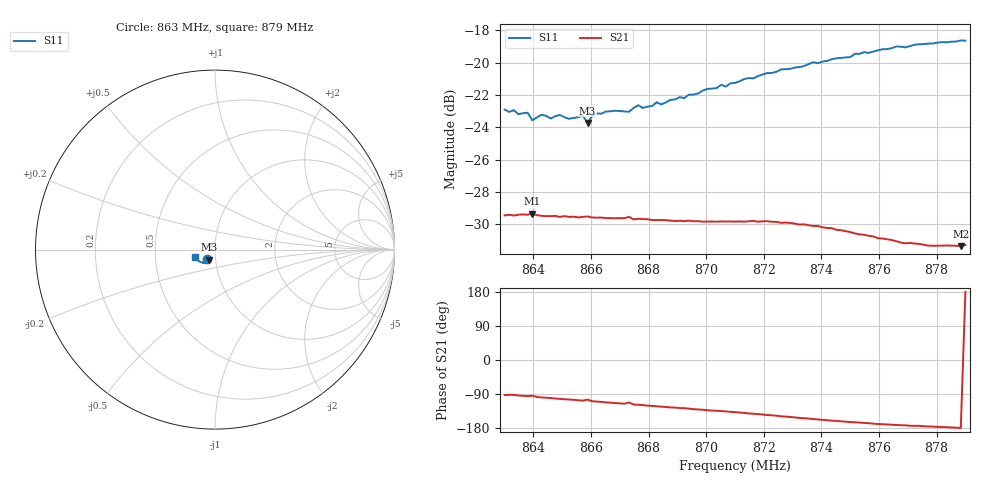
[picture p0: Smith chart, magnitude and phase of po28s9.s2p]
# HZ S RI R 50
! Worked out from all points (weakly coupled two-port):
!   101 points, 863 MHz to 879 MHz, reference 50 ohm
!   highest |S21| = -29.35 dB at 863.96 MHz (marker M1); lowest = -31.4 dB at 878.84 MHz (marker M2)
!   lowest |S11| = -23.7 dB at 865.88 MHz (marker M3), VSWR 1.14, Z = 46.5 - j5.24 ohm
!   |S11| at or under -10 dB: start of sweep to end of sweep
!   S12 and S22 are empty: the file has one direction only
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8.63e8  -0.0466 -0.0543  -0.00157 -0.0336  0 0  0 0
8.6332e8  -0.0444 -0.0558  -0.00133 -0.0336  0 0  0 0
8.6348e8  -0.0428 -0.0544  -0.00218 -0.0338  0 0  0 0
8.638e8  -0.0429 -0.0553  -0.0032 -0.0337  0 0  0 0
8.6396e8  -0.0379 -0.0544  -0.00241 -0.034  0 0  0 0
8.6428e8  -0.04 -0.0563  -0.00513 -0.0332  0 0  0 0
8.646e8  -0.0393 -0.0545  -0.00603 -0.033  0 0  0 0
8.6492e8  -0.0391 -0.0567  -0.00728 -0.0325  0 0  0 0
8.6524e8  -0.0373 -0.0557  -0.00822 -0.0323  0 0  0 0
8.6572e8  -0.0362 -0.0581  -0.00985 -0.0319  0 0  0 0
8.6588e8  -0.0329 -0.0561  -0.00837 -0.0324  0 0  0 0
8.662e8  -0.0373 -0.0588  -0.0112 -0.0312  0 0  0 0
8.6732e8  -0.0336 -0.062  -0.0126 -0.0309  0 0  0 0
8.6764e8  -0.038 -0.0633  -0.0154 -0.0291  0 0  0 0
8.678e8  -0.0371 -0.0622  -0.0159 -0.0287  0 0  0 0
8.6828e8  -0.0384 -0.0649  -0.0174 -0.0276  0 0  0 0
8.6844e8  -0.0377 -0.064  -0.0178 -0.0273  0 0  0 0
8.71e8  -0.0483 -0.0718  -0.0238 -0.0217  0 0  0 0
8.7372e8  -0.0674 -0.0743  -0.0285 -0.0128  0 0  0 0
8.7644e8  -0.0925 -0.0611  -0.0279 -0.00443  0 0  0 0
8.7884e8  -0.1098 -0.0407  -0.027 -0.000259  0 0  0 0
8.79e8  -0.1103 -0.0389  -0.0273 2.2e-05  0 0  0 0
